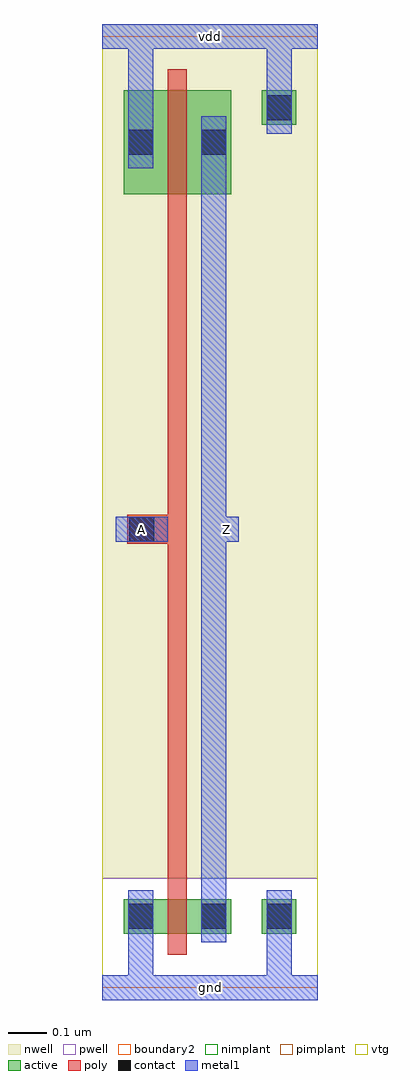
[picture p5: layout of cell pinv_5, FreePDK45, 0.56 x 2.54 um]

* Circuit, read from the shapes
.subckt pinv_5 A Z gnd vdd
M1 Z A gnd gnd nfet w=0.09u l=0.05u
M2 Z A vdd vdd pfet w=0.27u l=0.05u
.ends

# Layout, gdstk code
import gdstk
lib = gdstk.Library(unit=1e-6, precision=5e-10)
def R(c, l, rs):  # rectangles x0, y0, x1, y1
    for r in rs: c.add(gdstk.rectangle(r[:2], r[2:], *l))
active = (1, 0)
pwell = (2, 0)
nwell = (3, 0)
nimplant = (4, 0)
pimplant = (5, 0)
vtg = (6, 0)
poly = (9, 0)
contact = (10, 0)
metal1 = (11, 0)
boundary2 = (239, 0)

contact_9 = lib.new_cell('contact_9')
R(contact_9, active, [(0,0.0225,0.09,0.1125)])
R(contact_9, nwell, [(-0.055,-0.0325,0.145,0.1675)])
R(contact_9, pimplant, [(0,0.0225,0.09,0.1125)])
R(contact_9, contact, [(0.0125,0.035,0.0775,0.1)])
R(contact_9, metal1, [(0.0125,0,0.0775,0.135)])

pmos_m1_w0_270_a_p = lib.new_cell('pmos_m1_w0_270_a_p')
R(pmos_m1_w0_270_a_p, active, [(0,0,0.28,0.27)])
R(pmos_m1_w0_270_a_p, nwell, [(-0.055,-0.055,0.335,0.325)])
R(pmos_m1_w0_270_a_p, pimplant, [(0,0,0.28,0.27)])
R(pmos_m1_w0_270_a_p, vtg, [(-0.055,-0.055,0.335,0.325)])
R(pmos_m1_w0_270_a_p, poly, [(0.115,-0.055,0.165,0.325), (0.115,-0.055,0.165,0.325)])
R(pmos_m1_w0_270_a_p, metal1, [(0.0125,0.0675,0.0775,0.2025), (0.2025,0.0675,0.2675,0.2025)])
pmos_m1_w0_270_a_p.add(gdstk.Reference(contact_9, (0,0.0675)))
pmos_m1_w0_270_a_p.add(gdstk.Reference(contact_9, (0.19,0.0675)))
pmos_m1_w0_270_a_p.add(gdstk.Label('G', (0.14,0.135), layer=9, texttype=0))
pmos_m1_w0_270_a_p.add(gdstk.Label('S', (0.045,0.135), layer=11, texttype=0))
pmos_m1_w0_270_a_p.add(gdstk.Label('D', (0.235,0.135), layer=11, texttype=0))

contact_14 = lib.new_cell('contact_14')
R(contact_14, active, [(0,0.0225,0.09,0.1125)])
R(contact_14, pwell, [(-0.055,-0.0325,0.145,0.1675)])
R(contact_14, nimplant, [(0,0.0225,0.09,0.1125)])
R(contact_14, contact, [(0.0125,0.035,0.0775,0.1)])
R(contact_14, metal1, [(0.0125,0,0.0775,0.135)])

nmos_m1_w0_090_a_p = lib.new_cell('nmos_m1_w0_090_a_p')
R(nmos_m1_w0_090_a_p, active, [(0,0,0.28,0.09)])
R(nmos_m1_w0_090_a_p, pwell, [(-0.055,-0.055,0.335,0.145)])
R(nmos_m1_w0_090_a_p, nimplant, [(0,0,0.28,0.09)])
R(nmos_m1_w0_090_a_p, vtg, [(-0.055,-0.055,0.335,0.145)])
R(nmos_m1_w0_090_a_p, poly, [(0.115,-0.055,0.165,0.145), (0.115,-0.055,0.165,0.145)])
R(nmos_m1_w0_090_a_p, metal1, [(0.0125,-0.0225,0.0775,0.1125), (0.2025,-0.0225,0.2675,0.1125)])
nmos_m1_w0_090_a_p.add(gdstk.Reference(contact_14, (0,-0.0225)))
nmos_m1_w0_090_a_p.add(gdstk.Reference(contact_14, (0.19,-0.0225)))
nmos_m1_w0_090_a_p.add(gdstk.Label('G', (0.14,0.045), layer=9, texttype=0))
nmos_m1_w0_090_a_p.add(gdstk.Label('S', (0.045,0.045), layer=11, texttype=0))
nmos_m1_w0_090_a_p.add(gdstk.Label('D', (0.235,0.045), layer=11, texttype=0))

contact_18 = lib.new_cell('contact_18')
R(contact_18, active, [(0,0.0225,0.09,0.1125)])
R(contact_18, nwell, [(-0.055,-0.0325,0.145,0.1675)])
R(contact_18, nimplant, [(0,0.0225,0.09,0.1125)])
R(contact_18, contact, [(0.0125,0.035,0.0775,0.1)])
R(contact_18, metal1, [(0.0125,0,0.0775,0.135)])

contact_19 = lib.new_cell('contact_19')
R(contact_19, active, [(0,0.0225,0.09,0.1125)])
R(contact_19, pwell, [(-0.055,-0.0325,0.145,0.1675)])
R(contact_19, pimplant, [(0,0.0225,0.09,0.1125)])
R(contact_19, contact, [(0.0125,0.035,0.0775,0.1)])
R(contact_19, metal1, [(0.0125,0,0.0775,0.135)])

contact_10 = lib.new_cell('contact_10')
R(contact_10, poly, [(0.03,0,0.105,0.075)])
R(contact_10, contact, [(0.035,0.005,0.1,0.07)])
R(contact_10, metal1, [(0,0.005,0.135,0.07)])

pinv_5 = lib.new_cell('pinv_5')
R(pinv_5, pwell, [(0,-0.0325,0.56,0.285)])
R(pinv_5, nwell, [(0,0.285,0.56,2.5075)])
R(pinv_5, vtg, [(0,-0.0325,0.56,0.285), (0,0.285,0.56,2.5075)])
R(pinv_5, poly, [(0.17,0.085,0.22,2.01), (0.1025,1.155,0.17,1.23)])
R(pinv_5, metal1, [(0,-0.0325,0.56,0.0325), (0.0675,-0.0325,0.1325,0.1175), (0.4275,0,0.4925,0.185), (0.2575,0.1175,0.3225,2.2675), (0.035,1.16,0.17,1.225), (0.29,1.16,0.355,1.225), (0.0675,2.1325,0.1325,2.5075), (0.4275,2.29,0.4925,2.475), (0,2.4425,0.56,2.5075)])
R(pinv_5, boundary2, [(0,0,0.56,2.475)])
pinv_5.add(gdstk.Reference(pmos_m1_w0_270_a_p, (0.055,2.065)))
pinv_5.add(gdstk.Reference(nmos_m1_w0_090_a_p, (0.055,0.14)))
pinv_5.add(gdstk.Reference(contact_18, (0.415,2.2225)))
pinv_5.add(gdstk.Reference(contact_19, (0.415,0.1175)))
pinv_5.add(gdstk.Reference(contact_10, (0.035,1.155)))
pinv_5.add(gdstk.Label('gnd', (0.28,0), layer=11, texttype=0))
pinv_5.add(gdstk.Label('vdd', (0.28,2.475), layer=11, texttype=0))
pinv_5.add(gdstk.Label('A', (0.1025,1.1925), layer=11, texttype=0))
pinv_5.add(gdstk.Label('Z', (0.3225,1.1925), layer=11, texttype=0))

lib.write_gds('pinv_5.gds')
